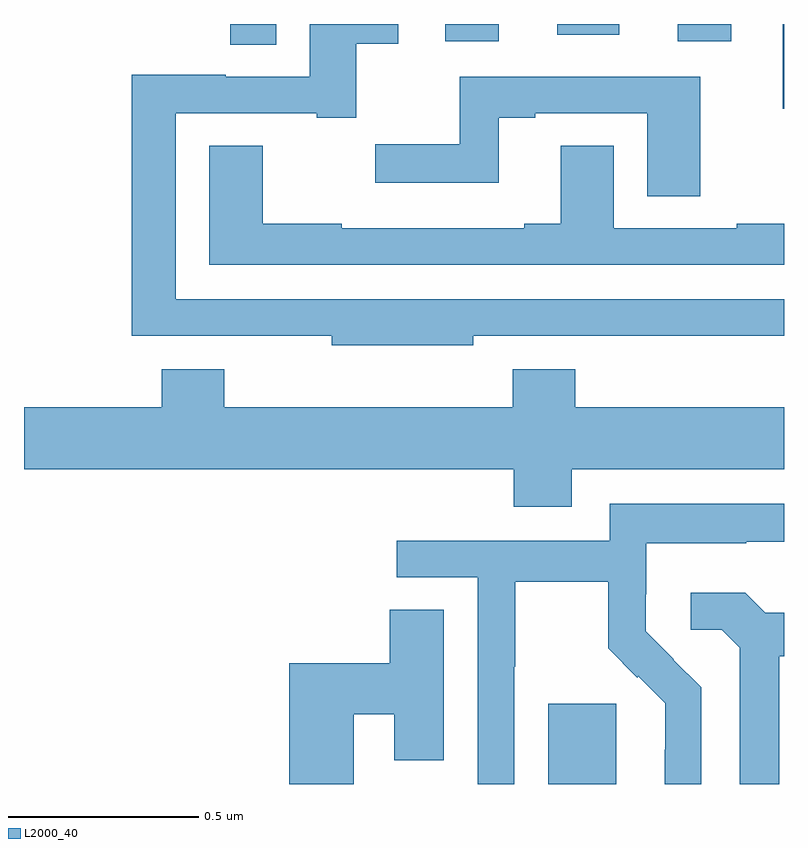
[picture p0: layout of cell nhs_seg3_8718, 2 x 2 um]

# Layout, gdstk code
import gdstk
lib = gdstk.Library(unit=1e-6, precision=1e-09)
def R(c, l, rs):  # rectangles x0, y0, x1, y1
    for r in rs: c.add(gdstk.rectangle(r[:2], r[2:], *l))
def P(c, l, *ps):  # polygons
    for p in ps: c.add(gdstk.Polygon(p, *l))
L2000_40 = (2000, 40)

nhs_seg3_8718 = lib.new_cell('nhs_seg3_8718')
R(nhs_seg3_8718, L2000_40, [(220.379,721.4,220.558,721.611), (220.997,723.177,221,723.4), (219.543,723.346,219.664,723.4), (220.109,723.354,220.249,723.4), (220.721,723.354,220.861,723.4), (220.403,723.372,220.567,723.4)])
P(nhs_seg3_8718, L2000_40, [(220.182,722.58),(220.534,722.58),(220.534,722.579),(221,722.579),(221,722.676),(219.399,722.676),(219.399,723.165),(219.77,723.165),(219.77,723.153),(219.874,723.153),(219.874,723.348),(219.985,723.348),(219.985,723.4),(219.752,723.4),(219.752,723.261),(219.531,723.261),(219.531,723.266),(219.283,723.266),(219.283,722.58),(219.61,722.58),(219.61,722.579),(219.81,722.579),(219.81,722.555),(220.182,722.555)],
  [(220.78,723.261),(220.147,723.261),(220.147,723.083),(219.924,723.083),(219.924,722.982),(220.249,722.982),(220.249,723.153),(220.345,723.153),(220.345,723.165),(220.64,723.165),(220.64,722.947),(220.78,722.947)],
  [(221,722.875),(220.876,722.875),(220.876,722.862),(220.552,722.862),(220.552,723.08),(220.412,723.08),(220.412,722.875),(220.316,722.875),(220.316,722.862),(219.836,722.862),(219.836,722.875),(219.628,722.875),(219.628,723.08),(219.488,723.08),(219.488,722.766),(221,722.766)],
  [(220.441,722.228),(221,722.228),(221,722.392),(220.451,722.392),(220.451,722.491),(220.286,722.491),(220.286,722.392),(219.527,722.392),(219.527,722.491),(219.362,722.491),(219.362,722.392),(219,722.392),(219,722.228),(220.289,722.228),(220.289,722.129),(220.441,722.129)],
  [(220.29,721.708),(220.293,721.708),(220.293,721.932),(220.537,721.932),(220.537,721.757),(220.614,721.68),(220.617,721.683),(220.688,721.613),(220.688,721.49),(220.686,721.49),(220.686,721.4),(220.782,721.4),(220.782,721.654),(220.709,721.727),(220.71,721.728),(220.636,721.802),(220.636,721.899),(220.638,721.899),(220.638,722.033),(220.901,722.033),(220.901,722.037),(221,722.037),(221,722.137),(220.542,722.137),(220.542,722.04),(219.981,722.04),(219.981,721.944),(220.194,721.944),(220.194,721.4),(220.29,721.4)],
  [(220.987,721.736),(221,721.736),(221,721.851),(220.95,721.851),(220.898,721.903),(220.755,721.903),(220.755,721.806),(220.836,721.806),(220.883,721.759),(220.883,721.4),(220.987,721.4)],
  [(219.868,721.583),(219.974,721.583),(219.974,721.462),(220.105,721.462),(220.105,721.859),(219.962,721.859),(219.962,721.718),(219.698,721.718),(219.698,721.4),(219.868,721.4)])

lib.write_gds('nhs_seg3_8718.gds')
